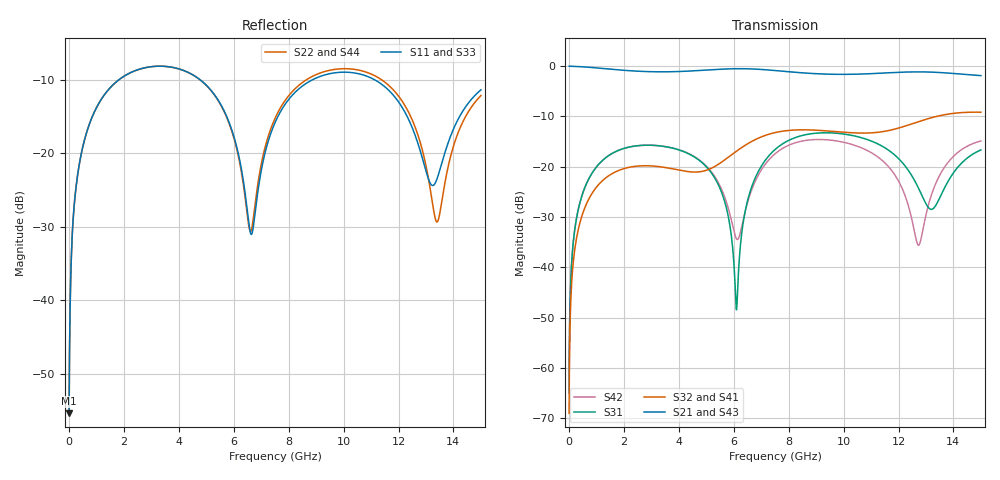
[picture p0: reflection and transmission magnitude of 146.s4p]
! Created with skrf 1.8.0 (http://scikit-rf.org).
# GHz S RI R 50.0
!freq ReS11 ImS11 ReS12 ImS12 ReS13 ImS13
! ReS14 ImS14
! ReS21 ImS21 ReS22 ImS22 ReS23 ImS23
! ReS24 ImS24
! ReS31 ImS31 ReS32 ImS32 ReS33 ImS33
! ReS34 ImS34
! ReS41 ImS41 ReS42 ImS42 ReS43 ImS43
! ReS44 ImS44
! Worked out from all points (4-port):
!   2499 points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, 5 MHz to 15 GHz, reference 50 ohm
!   strongest paths, dB at 5 MHz, 3.476 GHz, 7.19 GHz, 11.1 GHz, 15 GHz:
!     S21: 0.0, -1.1, -0.7, -1.5, -1.9
!     S43: 0.0, -1.1, -0.7, -1.5, -1.9
!     S32: -69.0, -20.1, -13.7, -13.2, -9.2
!     S41: -69.0, -20.1, -13.7, -13.2, -9.2
!     S31: -65.0, -16.0, -18.4, -15.1, -16.7
!     S42: -65.0, -16.0, -19.2, -17.5, -14.9
!   lowest |S11| = -55.4 dB at 5 MHz (marker M1), VSWR 1.00, Z = 50.1 + j0.103 ohm
!   |S11| at or under -10 dB: start of sweep to 1.823 GHz; 4.771 GHz to 8.876 GHz (4.104 GHz wide, 60.2 % of centre); 11.12 GHz to end of sweep
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0.005  0.00135 0.00103  0.9986 -0.00264  6.8e-05 0.00056  -6.59e-05 -0.000347
       0.9986 -0.00264  0.00135 0.00103  -6.59e-05 -0.000347  6.8e-05 0.00056
       6.8e-05 0.00056  -6.59e-05 -0.000347  0.00135 0.00103  0.9986 -0.00264
       -6.59e-05 -0.000347  6.8e-05 0.00056  0.9986 -0.00264  0.00135 0.00103
0.3626511  0.0218 0.0783  0.9701 -0.1903  0.0105 0.0387  -0.00867 -0.0238
           0.9701 -0.1903  0.0218 0.0783  -0.00867 -0.0238  0.0105 0.0388
           0.0105 0.0387  -0.00867 -0.0238  0.0218 0.0783  0.9701 -0.1903
           -0.00867 -0.0238  0.0105 0.0388  0.9701 -0.1903  0.0218 0.0783
1.67  0.2332 0.1878  0.6236 -0.6822  0.119 0.0738  -0.0863 -0.0183
      0.6236 -0.6822  0.2333 0.1878  -0.0863 -0.0183  0.1187 0.0741
      0.119 0.0738  -0.0863 -0.0183  0.2333 0.1879  0.6235 -0.6822
      -0.0863 -0.0183  0.1187 0.0741  0.6235 -0.6822  0.2333 0.1878
6.09629  0.0523 -0.0997  -0.8881 -0.3146  0.00378 -0.000106  -0.0429 0.1358
         -0.8881 -0.3146  0.0523 -0.0961  -0.0434 0.1356  -0.0179 -0.00711
         0.00378 -0.000106  -0.0434 0.1356  0.0521 -0.1023  -0.8877 -0.3149
         -0.0429 0.1358  -0.0179 -0.00711  -0.8877 -0.3149  0.0541 -0.0981
6.67153  0.0284 0.00428  -0.9359 -0.0444  0.0224 0.061  -0.00283 0.1792
         -0.9359 -0.0444  0.0302 0.0102  -0.00343 0.1793  -0.0084 0.0601
         0.0224 0.061  -0.00343 0.1793  0.0271 0.00144  -0.9359 -0.045
         -0.00283 0.1792  -0.0084 0.0601  -0.9359 -0.045  0.0317 0.00737
10.74823  0.3284 -0.0834  0.1585 0.8208  0.1234 -0.1453  0.1904 -0.1019
          0.1585 0.8208  0.342 -0.1104  0.1906 -0.1011  0.1337 -0.068
          0.1234 -0.1453  0.1906 -0.1011  0.3254 -0.0828  0.1609 0.8215
          0.1904 -0.1019  0.1337 -0.068  0.1609 0.8215  0.3385 -0.1116
15  0.2245 0.1488  0.6472 -0.4773  0.1426 0.0349  -0.2449 -0.2471
    0.6472 -0.4773  0.1935 0.1526  -0.2433 -0.2489  0.1784 0.0244
    0.1426 0.0349  -0.2433 -0.2489  0.2237 0.1507  0.6439 -0.4811
    -0.2449 -0.2471  0.1784 0.0244  0.6439 -0.4811  0.1972 0.1503
